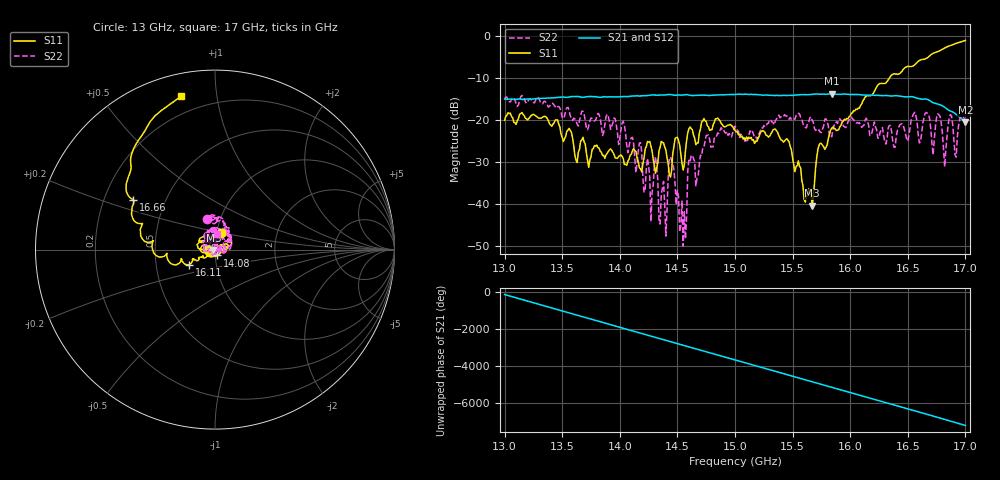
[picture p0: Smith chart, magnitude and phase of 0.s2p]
!Keysight Technologies,P9374A,MY57211807,A.19.30.04
!Date: Friday, May 01, 2026 14:42:31
!Correction: S11(C  2-Port  )
!S21(C  2-Port  )
!S12(C  2-Port  )
!S22(C  2-Port  )
!S2P File: Measurements: S11, S21, S12, S22:
# Hz S  RI  R 50
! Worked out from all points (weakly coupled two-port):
!   401 points, 13 GHz to 17 GHz, reference 50 ohm
!   highest |S21| = -13.79 dB at 15.84 GHz (marker M1); lowest = -20.6 dB at 17 GHz (marker M2)
!   lowest |S11| = -40.4 dB at 15.67 GHz (marker M3), VSWR 1.02, Z = 49.1 - j0.245 ohm
!   |S11| at or under -10 dB: start of sweep to 16.34 GHz
!   |S22| runs from -49.9 to -14.2 dB; largest |S21 - S12| = 0.0073
!   S11 on the Smith chart (normalised r, x): 13 GHz: 1.06, +0.20; 14.08 GHz: 1.02, -0.07; 16.11 GHz: 0.74, -0.13; 16.66 GHz: 0.32, +0.25; 17 GHz: 0.11, +0.80
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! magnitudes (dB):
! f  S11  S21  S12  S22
! 13 GHz  -20.1  -15.1  -15.0  -15.1
! 13.67 GHz  -24.8  -14.7  -14.7  -18.0
! 14.08 GHz  -29.3  -14.5  -14.4  -26.2
! 14.31 GHz  -32.6  -14.1  -14.1  -28.7
! 14.34 GHz  -27.4  -14.1  -14.1  -43.7
! 14.4 GHz  -27.2  -14.1  -14.1  -47.6
! 14.45 GHz  -32.0  -14.0  -14.0  -29.7
! 14.49 GHz  -24.2  -14.2  -14.1  -40.1
! 14.55 GHz  -31.9  -14.1  -14.1  -49.9
! 14.62 GHz  -22.0  -14.2  -14.2  -28.5
! 15 GHz  -22.4  -14.0  -14.0  -21.5
! 15.35 GHz  -22.2  -14.2  -14.2  -20.3
! 15.67 GHz  -40.4  -14.0  -13.9  -20.1
! 15.73 GHz  -26.0  -13.9  -13.9  -22.4
! 15.84 GHz  -22.0  -13.8  -13.8  -24.0
! 16.11 GHz  -15.5  -14.1  -14.1  -21.4
! 16.34 GHz  -10.0  -14.3  -14.3  -21.3
! 16.66 GHz  -5.4  -15.1  -15.1  -18.2
! 16.82 GHz  -3.0  -17.0  -17.0  -31.1
! 16.87 GHz  -2.4  -17.9  -17.9  -18.8
! 16.92 GHz  -1.9  -18.7  -18.7  -28.8
! 17 GHz  -1.2  -20.6  -20.6  -21.1
